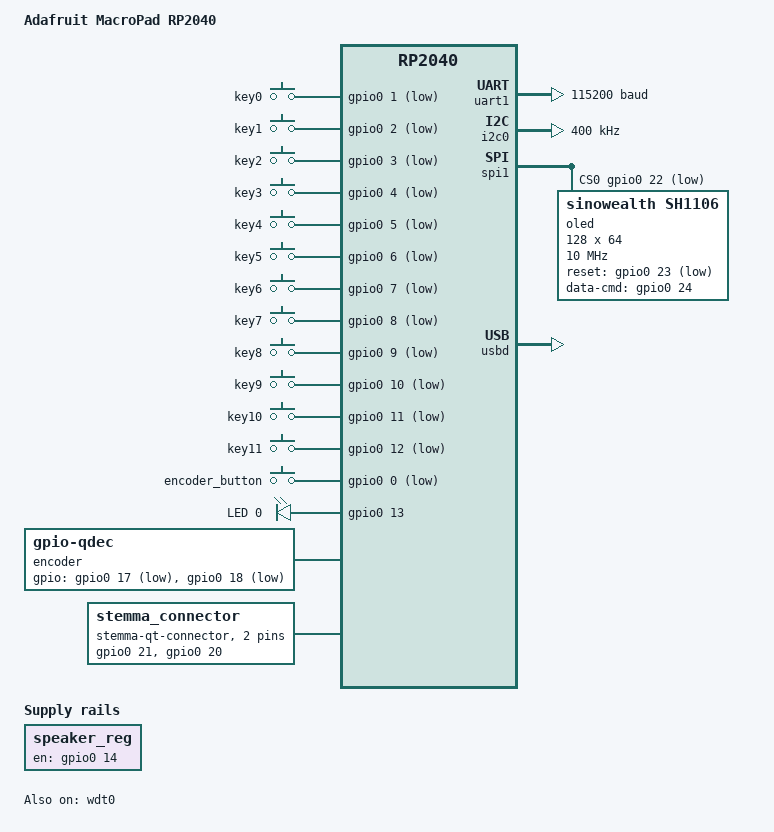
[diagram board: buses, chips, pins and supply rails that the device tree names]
/dts-v1/;

#include <raspberrypi/rpi_pico/rp2040.dtsi>
#include "adafruit_macropad_rp2040-pinctrl.dtsi"
#include <zephyr/dt-bindings/input/input-event-codes.h>
#include <zephyr/dt-bindings/led/led.h>
#include <zephyr/dt-bindings/pwm/pwm.h>


/ {
	model = "Adafruit MacroPad RP2040";
	compatible = "adafruit,macropad-rp2040";

	chosen {
		zephyr,console = &uart1;
		zephyr,shell-uart = &uart1;
		zephyr,sram = &sram0;
		zephyr,flash = &flash0;
		zephyr,flash-controller = &ssi;
		zephyr,code-partition = &code_partition;
		zephyr,display = &oled;
	};

	aliases {
		watchdog0 = &wdt0;
		led-strip = &ws2812;
		led0 = &led0;
	};

	speaker_reg: speaker-reg {
		compatible = "regulator-fixed";
		regulator-name = "Speaker";
		enable-gpios = <&gpio0 14 GPIO_ACTIVE_HIGH>;
	};

	keys {
		compatible = "gpio-keys";

		key0: key_0 {
			gpios = <&gpio0 1 (GPIO_ACTIVE_LOW | GPIO_PULL_UP)>;
			zephyr,code = <INPUT_KEY_F1>;
		};

		key1: key_1 {
			gpios = <&gpio0 2 (GPIO_ACTIVE_LOW | GPIO_PULL_UP)>;
			zephyr,code = <INPUT_KEY_F2>;
		};

		key2: key_2 {
			gpios = <&gpio0 3 (GPIO_ACTIVE_LOW | GPIO_PULL_UP)>;
			zephyr,code = <INPUT_KEY_F3>;
		};

		key3: key_3 {
			gpios = <&gpio0 4 (GPIO_ACTIVE_LOW | GPIO_PULL_UP)>;
			zephyr,code = <INPUT_KEY_F4>;
		};

		key4: key_4 {
			gpios = <&gpio0 5 (GPIO_ACTIVE_LOW | GPIO_PULL_UP)>;
			zephyr,code = <INPUT_KEY_F5>;
		};

		key5: key_5 {
			gpios = <&gpio0 6 (GPIO_ACTIVE_LOW | GPIO_PULL_UP)>;
			zephyr,code = <INPUT_KEY_F6>;
		};

		key6: key_6 {
			gpios = <&gpio0 7 (GPIO_ACTIVE_LOW | GPIO_PULL_UP)>;
			zephyr,code = <INPUT_KEY_F7>;
		};

		key7: key_7 {
			gpios = <&gpio0 8 (GPIO_ACTIVE_LOW | GPIO_PULL_UP)>;
			zephyr,code = <INPUT_KEY_F8>;
		};

		key8: key_8 {
			gpios = <&gpio0 9 (GPIO_ACTIVE_LOW | GPIO_PULL_UP)>;
			zephyr,code = <INPUT_KEY_F9>;
		};

		key9: key_9 {
			gpios = <&gpio0 10 (GPIO_ACTIVE_LOW | GPIO_PULL_UP)>;
			zephyr,code = <INPUT_KEY_F10>;
		};

		key10: key_10 {
			gpios = <&gpio0 11 (GPIO_ACTIVE_LOW | GPIO_PULL_UP)>;
			zephyr,code = <INPUT_KEY_F11>;
		};

		key11: key_11 {
			gpios = <&gpio0 12 (GPIO_ACTIVE_LOW | GPIO_PULL_UP)>;
			zephyr,code = <INPUT_KEY_F12>;
		};

		encoder_button: encoder_button {
			gpios = <&gpio0 0 (GPIO_ACTIVE_LOW | GPIO_PULL_UP)>;
			zephyr,code = <INPUT_KEY_ENTER>;
		};
	};

	leds {
		compatible = "gpio-leds";
		led0: led_0 {
			gpios = <&gpio0 13 GPIO_ACTIVE_HIGH>;
			label = "LED 0";
		};
	};

	encoder {
		compatible = "gpio-qdec";
		gpios = <&gpio0 17 (GPIO_ACTIVE_LOW | GPIO_PULL_UP)>,
			<&gpio0 18 (GPIO_ACTIVE_LOW | GPIO_PULL_UP)>;
		zephyr,axis = <INPUT_REL_WHEEL>;
		steps-per-period = <4>;
		sample-time-us = <2000>;
		idle-timeout-ms = <200>;
	};

	stemma_connector: stemma_connector {
		compatible = "stemma-qt-connector";
		#gpio-cells = <2>;
		gpio-map-mask = <0xffffffff 0xffffffc0>;
		gpio-map-pass-thru = <0 0x3f>;
		gpio-map = <0 0 &gpio0 21 0>,
			   <1 0 &gpio0 20 0>;
	};
};

&flash0 {
	reg = <0x10000000 DT_SIZE_M(8)>;

	partitions {
		compatible = "fixed-partitions";
		#address-cells = <1>;
		#size-cells = <1>;

		/* Reserved memory for the second stage bootloader */
		second_stage_bootloader: partition@0 {
			label = "second_stage_bootloader";
			reg = <0x00000000 0x100>;
			read-only;
		};

		/*
		 * Usable flash. Starts at 0x100, after the bootloader. The partition
		 * size is 8MB minus the 0x100 bytes taken by the bootloader.
		 */
		code_partition: partition@100 {
			label = "code-partition";
			reg = <0x100 (DT_SIZE_M(8) - 0x100)>;
			read-only;
		};
	};
};

&uart1 {
	current-speed = <115200>;
	status = "okay";
	pinctrl-0 = <&uart1_default>;
	pinctrl-names = "default";
};

/* You need to disable uart1 to use i2c0 */
&i2c0 {
	clock-frequency = <400000>;
	pinctrl-0 = <&i2c0_default>;
	pinctrl-names = "default";
};

&spi1 {
	status = "okay";
	pinctrl-0 = <&spi1_default>;
	pinctrl-names = "default";
	cs-gpios = <&gpio0 22 GPIO_ACTIVE_LOW>;

	oled: ssd1306@0 {
		compatible = "sinowealth,sh1106";
		reg = <0>;
		spi-max-frequency = <10000000>;
		width = <128>;
		height = <64>;
		segment-offset = <2>;
		page-offset = <0>;
		display-offset = <0>;
		multiplex-ratio = <63>;
		prechargep = <0x1F>;
		segment-remap;
		com-invdir;
		inversion-on;
		reset-gpios = <&gpio0 23 GPIO_ACTIVE_LOW>;
		data-cmd-gpios = <&gpio0 24 GPIO_ACTIVE_HIGH>;
		ready-time-ms = <100>;  /* SH1106G needs 100ms delay after init */
	};
};

&gpio0 {
	status = "okay";
};

&pwm {
	pinctrl-0 = <&pwm_ch0a_default>;
	pinctrl-names = "default";
	divider-int-0 = <255>;
};

&wdt0 {
	status = "okay";
};

zephyr_udc0: &usbd {
	status = "okay";
};

&pio1 {
	status = "okay";

	pio-ws2812 {
		compatible = "worldsemi,ws2812-rpi_pico-pio";
		status = "okay";
		pinctrl-0 = <&ws2812_pio1_default>;
		pinctrl-names = "default";
		bit-waveform = <3>, <3>, <4>;

		ws2812: ws2812 {
			status = "okay";
			gpios = <&gpio0 19 GPIO_ACTIVE_HIGH>;
			chain-length = <12>;
			color-mapping = <LED_COLOR_ID_GREEN
					 LED_COLOR_ID_RED
					 LED_COLOR_ID_BLUE>;
			reset-delay = <280>;
			frequency = <800000>;
		};
	};
};
